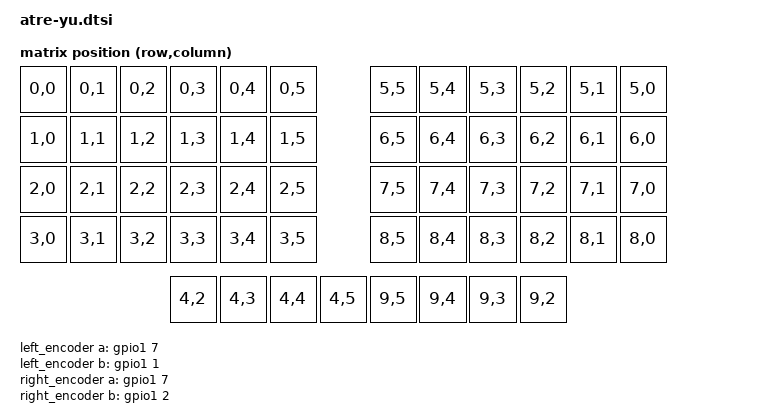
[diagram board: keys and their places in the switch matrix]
#include <dt-bindings/zmk/matrix_transform.h>
#include <physical_layouts.dtsi>

/ {
    chosen {
        zmk,kscan = &kscan0;
        zmk,matrix-transform = &default_transform;
        zmk,physical-layout = &atre_yu_physical_layout;
    };

    default_transform: keymap_transform_0 {
        compatible = "zmk,matrix-transform";
        columns = <6>;
        rows = <10>;
        map = <
RC(0,0) RC(0,1) RC(0,2) RC(0,3) RC(0,4) RC(0,5)  RC(5,5) RC(5,4) RC(5,3) RC(5,2) RC(5,1) RC(5,0)
RC(1,0) RC(1,1) RC(1,2) RC(1,3) RC(1,4) RC(1,5)  RC(6,5) RC(6,4) RC(6,3) RC(6,2) RC(6,1) RC(6,0)
RC(2,0) RC(2,1) RC(2,2) RC(2,3) RC(2,4) RC(2,5)  RC(7,5) RC(7,4) RC(7,3) RC(7,2) RC(7,1) RC(7,0)
RC(3,0) RC(3,1) RC(3,2) RC(3,3) RC(3,4) RC(3,5)  RC(8,5) RC(8,4) RC(8,3) RC(8,2) RC(8,1) RC(8,0)
                RC(4,2) RC(4,3) RC(4,4) RC(4,5)  RC(9,5) RC(9,4) RC(9,3) RC(9,2)
        >;
    };

    /*
     * Physical layout using ZMK's key_physical_attrs format.
     * Units are in 1/100 of 1U (where 1U = 19.05mm).
     * 6 columns left + 6 columns right, 4 main rows + 1 thumb row.
     * A 1U gap separates the two halves (left cols at x=0..500, right at x=700..1200).
     * Thumb row (y=420) is positioned ~4.2U below the top.
     */
    atre_yu_physical_layout: atre_yu_physical_layout {
        compatible = "zmk,physical-layout";
        display-name = "Atre-yu";

        transform = <&default_transform>;

        keys //                     w   h    x    y   rot  rx  ry
            /* Row 0, Left */
            = <&key_physical_attrs 100 100    0   0    0    0   0>
            , <&key_physical_attrs 100 100  100   0    0    0   0>
            , <&key_physical_attrs 100 100  200   0    0    0   0>
            , <&key_physical_attrs 100 100  300   0    0    0   0>
            , <&key_physical_attrs 100 100  400   0    0    0   0>
            , <&key_physical_attrs 100 100  500   0    0    0   0>
            /* Row 0, Right */
            , <&key_physical_attrs 100 100  700   0    0    0   0>
            , <&key_physical_attrs 100 100  800   0    0    0   0>
            , <&key_physical_attrs 100 100  900   0    0    0   0>
            , <&key_physical_attrs 100 100 1000   0    0    0   0>
            , <&key_physical_attrs 100 100 1100   0    0    0   0>
            , <&key_physical_attrs 100 100 1200   0    0    0   0>
            /* Row 1, Left */
            , <&key_physical_attrs 100 100    0 100    0    0   0>
            , <&key_physical_attrs 100 100  100 100    0    0   0>
            , <&key_physical_attrs 100 100  200 100    0    0   0>
            , <&key_physical_attrs 100 100  300 100    0    0   0>
            , <&key_physical_attrs 100 100  400 100    0    0   0>
            , <&key_physical_attrs 100 100  500 100    0    0   0>
            /* Row 1, Right */
            , <&key_physical_attrs 100 100  700 100    0    0   0>
            , <&key_physical_attrs 100 100  800 100    0    0   0>
            , <&key_physical_attrs 100 100  900 100    0    0   0>
            , <&key_physical_attrs 100 100 1000 100    0    0   0>
            , <&key_physical_attrs 100 100 1100 100    0    0   0>
            , <&key_physical_attrs 100 100 1200 100    0    0   0>
            /* Row 2, Left */
            , <&key_physical_attrs 100 100    0 200    0    0   0>
            , <&key_physical_attrs 100 100  100 200    0    0   0>
            , <&key_physical_attrs 100 100  200 200    0    0   0>
            , <&key_physical_attrs 100 100  300 200    0    0   0>
            , <&key_physical_attrs 100 100  400 200    0    0   0>
            , <&key_physical_attrs 100 100  500 200    0    0   0>
            /* Row 2, Right */
            , <&key_physical_attrs 100 100  700 200    0    0   0>
            , <&key_physical_attrs 100 100  800 200    0    0   0>
            , <&key_physical_attrs 100 100  900 200    0    0   0>
            , <&key_physical_attrs 100 100 1000 200    0    0   0>
            , <&key_physical_attrs 100 100 1100 200    0    0   0>
            , <&key_physical_attrs 100 100 1200 200    0    0   0>
            /* Row 3, Left */
            , <&key_physical_attrs 100 100    0 300    0    0   0>
            , <&key_physical_attrs 100 100  100 300    0    0   0>
            , <&key_physical_attrs 100 100  200 300    0    0   0>
            , <&key_physical_attrs 100 100  300 300    0    0   0>
            , <&key_physical_attrs 100 100  400 300    0    0   0>
            , <&key_physical_attrs 100 100  500 300    0    0   0>
            /* Row 3, Right */
            , <&key_physical_attrs 100 100  700 300    0    0   0>
            , <&key_physical_attrs 100 100  800 300    0    0   0>
            , <&key_physical_attrs 100 100  900 300    0    0   0>
            , <&key_physical_attrs 100 100 1000 300    0    0   0>
            , <&key_physical_attrs 100 100 1100 300    0    0   0>
            , <&key_physical_attrs 100 100 1200 300    0    0   0>
            /* Thumb Row, Left */
            , <&key_physical_attrs 100 100  300 420    0    0   0>
            , <&key_physical_attrs 100 100  400 420    0    0   0>
            , <&key_physical_attrs 100 100  500 420    0    0   0>
            , <&key_physical_attrs 100 100  600 420    0    0   0>
            /* Thumb Row, Right */
            , <&key_physical_attrs 100 100  700 420    0    0   0>
            , <&key_physical_attrs 100 100  800 420    0    0   0>
            , <&key_physical_attrs 100 100  900 420    0    0   0>
            , <&key_physical_attrs 100 100 1000 420    0    0   0>
            ;
    };

    left_encoder: encoder_left {
        compatible = "alps,ec11";
        a-gpios = <&gpio1 7 (GPIO_ACTIVE_HIGH | GPIO_PULL_UP)>;
        b-gpios = <&gpio1 1 (GPIO_ACTIVE_HIGH | GPIO_PULL_UP)>;
        steps = <80>;
        status = "disabled";
    };

    right_encoder: encoder_right {
        compatible = "alps,ec11";
        a-gpios = <&gpio1 7 (GPIO_ACTIVE_HIGH | GPIO_PULL_UP)>;
        b-gpios = <&gpio1 2 (GPIO_ACTIVE_HIGH | GPIO_PULL_UP)>;
        steps = <80>;
        status = "disabled";
    };

    sensors: sensors {
        compatible = "zmk,keymap-sensors";
        sensors = <&left_encoder &right_encoder>;
        triggers-per-rotation = <20>;
    };

    kscan0: kscan {
        compatible = "zmk,kscan-gpio-matrix";
        diode-direction = "col2row";
        wakeup-source;
    };
};
